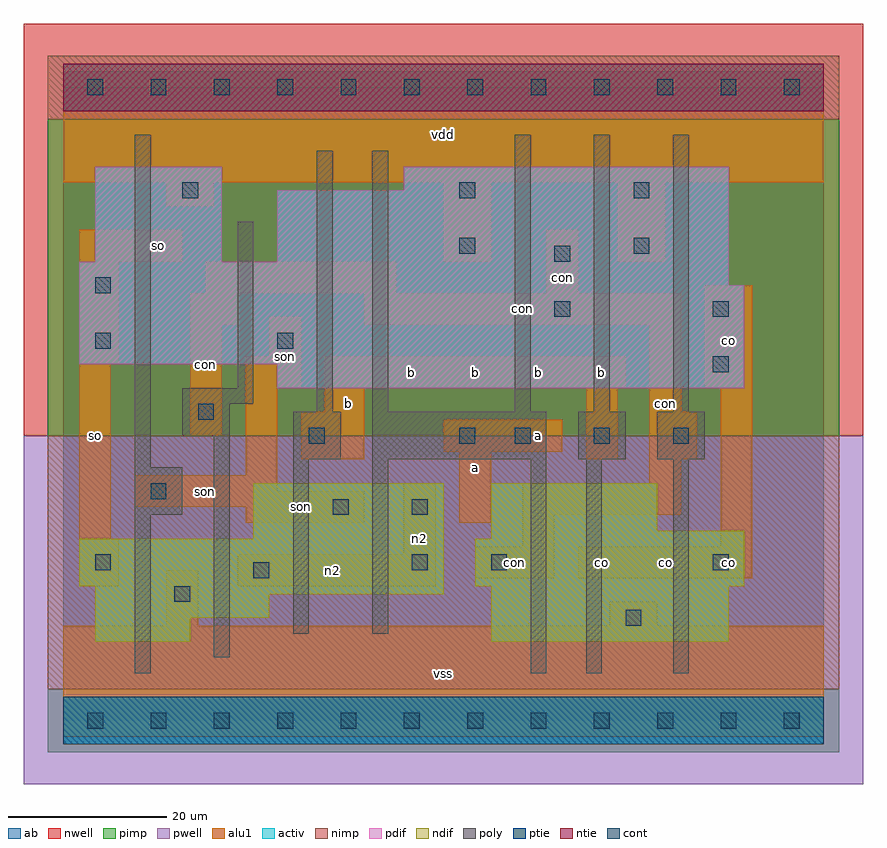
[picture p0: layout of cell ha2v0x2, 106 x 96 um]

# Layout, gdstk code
import gdstk
lib = gdstk.Library(unit=1e-6, precision=1e-09)
def R(c, l, rs):  # rectangles x0, y0, x1, y1
    for r in rs: c.add(gdstk.rectangle(r[:2], r[2:], *l))
def A(c, l, x, y, w, h, nx, ny, dx, dy):  # array of equal rectangles
    R(c, l, [(x+i*dx, y+j*dy, x+i*dx+w, y+j*dy+h) for i in range(nx) for j in range(ny)])
ndif = (3, 0)
pdif = (4, 0)
ntie = (5, 0)
ptie = (6, 0)
cont = (25, 0)
pwell = (41, 0)
nwell = (42, 0)
activ = (43, 0)
pimp = (44, 0)
nimp = (45, 0)
poly = (46, 0)
alu1 = (49, 0)
ab = (63, 0)

ha2v0x2 = lib.new_cell('ha2v0x2')
R(ha2v0x2, ndif, [(4,10,16,13), (54,10,84,17), (4,13,26,16), (4,16,48,17), (2,17,48,23), (52,17,86,23), (24,23,48,30), (54,23,86,24), (54,24,75,30)])
R(ha2v0x2, pdif, [(27,42,86,45), (2,45,86,55), (2,55,84,58), (4,58,20,70), (27,58,84,67), (43,67,84,70)])
R(ha2v0x2, ntie, [(0,77,96,83)])
R(ha2v0x2, ptie, [(0,-3,96,3)])
A(ha2v0x2, cont, 3, -1, 2, 2, 12, 2, 8, 80)
A(ha2v0x2, cont, 57, 35, 2, 2, 3, 1, 10, 0)
R(ha2v0x2, cont, [(71,12,73,14), (14,15,16,17), (24,18,26,20), (4,19,6,21), (44,19,46,21), (54,19,56,21), (82,19,84,21), (34,26,36,28), (44,26,46,28), (11,28,13,30), (31,35,33,37), (50,35,52,37), (17,38,19,40), (82,44,84,46), (4,47,6,49), (27,47,29,49), (62,51,64,53), (82,51,84,53), (4,54,6,56), (62,58,64,60), (50,59,52,61), (72,59,74,61), (15,66,17,68), (50,66,52,68), (72,66,74,68)])
R(ha2v0x2, pwell, [(-5,-8,101,36)])
R(ha2v0x2, nwell, [(-5,36,101,88)])
R(ha2v0x2, activ, [(0,-3,96,3), (4,10,16,13), (54,10,84,17), (4,13,26,16), (4,16,48,17), (2,17,48,23), (52,17,86,23), (24,23,48,30), (54,23,86,24), (54,24,75,30), (27,42,86,45), (2,45,86,55), (2,55,84,58), (4,58,20,70), (27,58,84,67), (43,67,84,70), (0,77,96,83)])
R(ha2v0x2, pimp, [(-2,-4,98,4), (-2,36,98,76)])
R(ha2v0x2, nimp, [(-2,4,98,36), (-2,76,98,84)])
A(ha2v0x2, poly, 57, 39, 2, 35, 3, 1, 10, 0)
R(ha2v0x2, poly, [(9,6,11,26), (59,6,61,33), (66,6,68,33), (77,6,79,33), (19,8,21,36), (29,11,31,33), (39,11,41,33), (9,26,15,32), (9,32,11,74), (29,33,35,39), (39,33,61,39), (65,33,71,39), (75,33,81,39), (15,36,21,40), (32,39,34,72), (39,39,41,72), (15,40,24,42), (22,42,24,63)])
R(ha2v0x2, alu1, [(0,-2,96,12), (13,12,17,19), (69,12,75,15), (2,17,7,23), (22,17,47,21), (52,18,62,22), (65,18,87,22), (43,21,47,30), (58,22,62,26), (83,22,87,42), (2,23,6,45), (23,25,38,27), (50,25,54,34), (58,26,78,30), (9,27,38,29), (9,29,27,31), (74,30,78,33), (23,31,27,42), (30,33,38,39), (66,33,70,42), (74,33,80,39), (48,34,63,38), (16,36,20,50), (33,39,38,42), (74,39,78,50), (23,42,30,46), (33,42,71,46), (81,42,87,55), (2,45,7,58), (26,46,30,51), (16,50,22,54), (38,50,78,54), (18,54,42,58), (61,54,65,62), (2,58,15,62), (48,58,54,68), (70,58,76,68), (13,65,19,68), (0,68,96,82)])
R(ha2v0x2, ab, [(0,0,96,80)])
ha2v0x2.add(gdstk.Label('con', (18,45), layer=49, texttype=0))
ha2v0x2.add(gdstk.Label('n2', (45,23), layer=49, texttype=0))
ha2v0x2.add(gdstk.Label('n2', (34,19), layer=49, texttype=0))
ha2v0x2.add(gdstk.Label('son', (30,27), layer=49, texttype=0))
ha2v0x2.add(gdstk.Label('son', (18,29), layer=49, texttype=0))
ha2v0x2.add(gdstk.Label('son', (28,46), layer=49, texttype=0))
ha2v0x2.add(gdstk.Label('con', (57,20), layer=49, texttype=0))
ha2v0x2.add(gdstk.Label('con', (63,56), layer=49, texttype=0))
ha2v0x2.add(gdstk.Label('con', (76,40), layer=49, texttype=0))
ha2v0x2.add(gdstk.Label('con', (58,52), layer=49, texttype=0))
ha2v0x2.add(gdstk.Label('so', (4,36), layer=49, texttype=0))
ha2v0x2.add(gdstk.Label('so', (12,60), layer=49, texttype=0))
ha2v0x2.add(gdstk.Label('b', (44,44), layer=49, texttype=0))
ha2v0x2.add(gdstk.Label('b', (36,40), layer=49, texttype=0))
ha2v0x2.add(gdstk.Label('vss', (48,6), layer=49, texttype=0))
ha2v0x2.add(gdstk.Label('co', (68,20), layer=49, texttype=0))
ha2v0x2.add(gdstk.Label('a', (52,32), layer=49, texttype=0))
ha2v0x2.add(gdstk.Label('a', (60,36), layer=49, texttype=0))
ha2v0x2.add(gdstk.Label('b', (68,44), layer=49, texttype=0))
ha2v0x2.add(gdstk.Label('b', (60,44), layer=49, texttype=0))
ha2v0x2.add(gdstk.Label('b', (52,44), layer=49, texttype=0))
ha2v0x2.add(gdstk.Label('vdd', (48,74), layer=49, texttype=0))
ha2v0x2.add(gdstk.Label('co', (84,20), layer=49, texttype=0))
ha2v0x2.add(gdstk.Label('co', (76,20), layer=49, texttype=0))
ha2v0x2.add(gdstk.Label('co', (84,48), layer=49, texttype=0))

lib.write_gds('ha2v0x2.gds')
